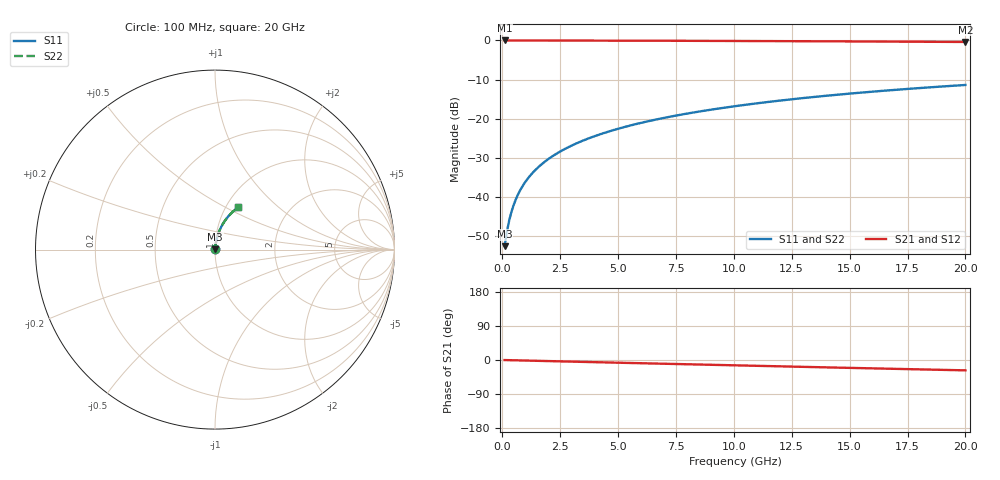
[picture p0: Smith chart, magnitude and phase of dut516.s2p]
! Touchstone file exported from HFSS 2026.1.0
!  File:  C:/ffzhzh/LocalFiles/Ansys_Project_Files/temp_train_TMRDL_516_1783007010_46388.aedt
!  Generated:  11:44:53 PM Jul  2, 2026
!  Design:  TMRDL
!  Project:  temp_train_TMRDL_516_1783007010_46388
! Variables:
!  h_bsmrdl = 2um
!  h_ox = 20um
!  h_rdl = 5um
!  h_sub = 80um
!  h_tmrdl = 5.09um
!  h_tsv = 80um
!  h_via = 3um
!  l_bsmrdl = 300um
!  l_sub = 778.76um
!  l_tmrdl = 378.76um
!  m_sub = 200um
!  pitch = 42.27um
!  r_tsv = 6um
!  s_tmrdl = 10um
!  w_bsmrdl = 18um
!  w_sub = 500um
!  w_tmrdl = 16.86um
!  x_tsv_center1 = 387.19um
!  x_tsv_center2 = 705.19um
!  x_tsv_center3 = 1100.81um
!  x_tsv_center4 = 1418.81um
!  x_tsv_center5 = 1814.43um
!  x_tsv_center6 = 2132.43um
# GHz S MA R 50.000000
! Terminal data exported
! Port[1] = TM_RDL1_1_T1
! Port[2] = TM_RDL1_1_T2
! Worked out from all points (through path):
!   200 points, 100 MHz to 20 GHz, reference 50 ohm
!   highest |S21| = -0.01 dB at 100 MHz (marker M1); lowest = -0.4 dB at 20 GHz (marker M2)
!   group delay of S21, straight-line fit = 3.79 ps
!   lowest |S11| = -52.6 dB at 100 MHz (marker M3), VSWR 1.00, Z = 50.2 + j0.162 ohm
!   |S11| at or under -10 dB: start of sweep to end of sweep
!   |S22| runs from -52.6 to -11.4 dB; largest |S21 - S12| = 5.2e-15
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0.1  0.002341 43.8  0.9983 -0.2  0.9983 -0.2  0.002341 43.8
! Gamma 0 0 0 0
! Port Impedance 50 0 50 0
0.2  0.0036 62.4  0.9982 -0.3  0.9982 -0.3  0.003609 62.5
0.3  0.005024 70.6  0.9982 -0.4  0.9982 -0.4  0.005039 70.6
0.4  0.006503 74.8  0.9981 -0.6  0.9981 -0.6  0.006522 74.9
0.5  0.008007 77.3  0.998 -0.7  0.998 -0.7  0.008027 77.3
0.6  0.009521 78.9  0.998 -0.9  0.998 -0.9  0.009542 78.9
0.8  0.01256 80.7  0.9979 -1.2  0.9979 -1.2  0.01258 80.8
1.1  0.01711 82.0  0.9977 -1.6  0.9977 -1.6  0.01713 82.0
1.3  0.02012 82.3  0.9976 -1.9  0.9976 -1.9  0.02014 82.3
1.5  0.02313 82.5  0.9975 -2.2  0.9975 -2.2  0.02314 82.5
1.8  0.02761 82.6  0.9973 -2.6  0.9973 -2.6  0.02761 82.6
2.1  0.03206 82.5  0.997 -3.0  0.997 -3.0  0.03206 82.5
2.7  0.0409 82.2  0.9964 -3.9  0.9964 -3.9  0.04091 82.2
3.5  0.05259 81.4  0.9954 -5.0  0.9954 -5.0  0.05259 81.4
4.2  0.06272 80.7  0.9945 -6.0  0.9945 -6.0  0.06271 80.7
5  0.07419 79.8  0.9933 -7.1  0.9933 -7.1  0.07419 79.8
6.8  0.09961 77.6  0.9902 -9.7  0.9902 -9.7  0.09961 77.6
8.3  0.1204 75.7  0.9874 -11.7  0.9874 -11.7  0.1204 75.7
10.1  0.1449 73.4  0.9835 -14.2  0.9835 -14.2  0.1449 73.5
13.4  0.1884 69.3  0.9753 -18.7  0.9753 -18.7  0.1884 69.3
16.7  0.23 65.1  0.9657 -23.0  0.9657 -23.0  0.23 65.1
20  0.2693 61.0  0.955 -27.3  0.955 -27.3  0.2692 61.0
